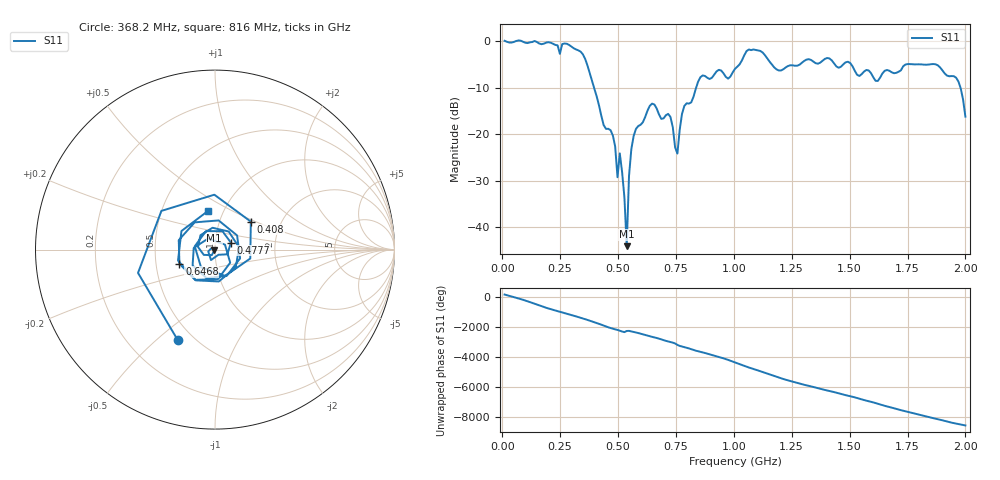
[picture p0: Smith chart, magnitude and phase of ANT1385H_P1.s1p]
!Created with skrf (http://scikit-rf.org).
# Hz S RI R 50.0
!freq ReS11 ImS11
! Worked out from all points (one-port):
!   201 points, 10 MHz to 2 GHz, reference 50 ohm
!   lowest |S11| = -44.0 dB at 537.4 MHz (marker M1), VSWR 1.01, Z = 49.6 - j0.492 ohm
!   |S11| at or under -10 dB: 396.3 MHz to 837.1 MHz (440.8 MHz wide, 71.5 % of centre); 1.979 GHz to end of sweep
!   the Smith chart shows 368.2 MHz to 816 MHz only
!   S11 on the Smith chart (normalised r, x): 368.2 MHz: 0.41, -0.59; 408 MHz: 1.41, +0.47; 477.6 MHz: 1.19, +0.09; 646.8 MHz: 0.66, -0.11; 816 MHz: 0.85, +0.39
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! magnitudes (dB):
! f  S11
! 10 MHz  0.1
! 248.8 MHz  -2.7
! 258.8 MHz  -0.6
! 368.2 MHz  -5.3
! 408 MHz  -11.9
! 437.9 MHz  -18.0
! 477.6 MHz  -20.3
! 497.6 MHz  -29.2
! 507.5 MHz  -24.1
! 527.4 MHz  -33.5
! 537.4 MHz  -44.0
! 547.3 MHz  -28.9
! 567.2 MHz  -20.4
! 646.8 MHz  -13.4
! 726.4 MHz  -16.3
! 756.2 MHz  -24.1
! 776.1 MHz  -15.6
! 816 MHz  -13.2
! 855.8 MHz  -7.7
! 1.005 GHz  -5.9
! 1.065 GHz  -1.8
! 1.194 GHz  -6.3
! 1.254 GHz  -5.2
! 1.502 GHz  -4.7
! 1.622 GHz  -8.5
! 1.751 GHz  -4.9
! 1.96 GHz  -7.9
! 2 GHz  -16.2
